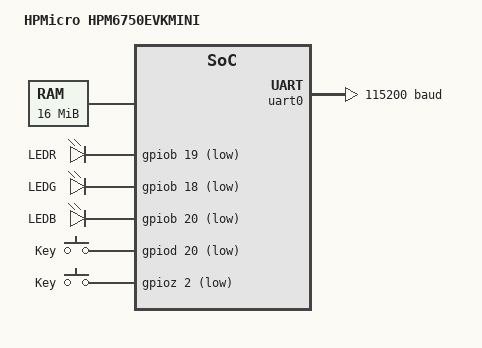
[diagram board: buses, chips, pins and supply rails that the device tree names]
/*
 * Copyright (c) 2022 HPMicro
 * SPDX-License-Identifier: Apache-2.0
 */

/dts-v1/;

#include <hpmicro/hpm6750.dtsi>
#include "hpm6750evkmini-pinctrl.dtsi"
#include <zephyr/dt-bindings/input/input-event-codes.h>

/ {
	model = "HPMicro HPM6750EVKMINI";
	compatible = "HPMicro,hpm6750evkmini";

	chosen {
		zephyr,console = &uart0;
		zephyr,shell-uart = &uart0;
		zephyr,sram = &sram;
		zephyr,itcm = &ilm;
		zephyr,dtcm = &dlm;
		zephyr,flash = &flash0;
		zephyr,code-partition = &slot0_partition;
	};

	dram: memory@40000000 {
		device_type = "memory";
		reg = <0x40000000 DT_SIZE_M(16)>;
	};

	leds {
		compatible = "gpio-leds";
		led_r: led_r {
			gpios = <&gpiob 19 GPIO_ACTIVE_LOW>;
			label = "LEDR";
		};
		led_g: led_g {
			gpios = <&gpiob 18 GPIO_ACTIVE_LOW>;
			label = "LEDG";
		};
		led_b: led_b {
			gpios = <&gpiob 20 GPIO_ACTIVE_LOW>;
			label = "LEDB";
		};
	};

	gpio_keys {
		compatible = "gpio-keys";
		wbutn: button_1 {
			label = "Key";
			gpios = <&gpiod 20 GPIO_ACTIVE_LOW>;
			zephyr,code = <INPUT_KEY_WAKEUP>;
		};

		pbutn: button_2 {
			label = "Key";
			gpios = <&gpioz 2 GPIO_ACTIVE_LOW>;
			zephyr,code = <INPUT_KEY_POWER>;
		};
	};

	aliases {
		led0 = &led_r;
		led1 = &led_g;
		led2 = &led_b;
		sw0 = &wbutn;
	};
};

&gpio0 {

	gpiob: gpio@1 {
		compatible = "hpmicro,hpm-gpio";
		reg = <0x0 0x4000>;
		gpio-controller;
		#gpio-cells = <2>;
		hpmicro-gpio-port = <1>;
		interrupts = <2 1>;
		interrupt-parent = <&plic0>;
		status = "okay";
	};

	gpiod: gpio@3 {
		compatible = "hpmicro,hpm-gpio";
		reg = <0x0 0x4000>;
		gpio-controller;
		#gpio-cells = <2>;
		hpmicro-gpio-port = <3>;
		interrupts = <4 1>;
		interrupt-parent = <&plic0>;
		status = "okay";
	};

	gpioz: gpio@8 {
		compatible = "hpmicro,hpm-gpio";
		reg = <0x00 0x4000>;
		gpio-controller;
		#gpio-cells = <2>;
		hpmicro-gpio-port = <15>;
		interrupts = <9 1>;
		interrupt-parent = <&plic0>;
	};
};

&uart0 {
	status = "okay";
	current-speed = <115200>;
	pinctrl-0 = <&pinmux_uart0>;
	pinctrl-names = "default";
};

&flash0 {
	status = "okay";
	partitions {
		compatible = "fixed-partitions";
		#address-cells = <1>;
		#size-cells = <1>;

		boot_partition: partition@0 {
			label = "mcuboot";
			reg = <0x0 0x3000>;
		};

		slot0_partition: partition@3000 {
			label = "image-0";
			reg = <0x3000 DT_SIZE_M(4)>;
		};
	};
};
